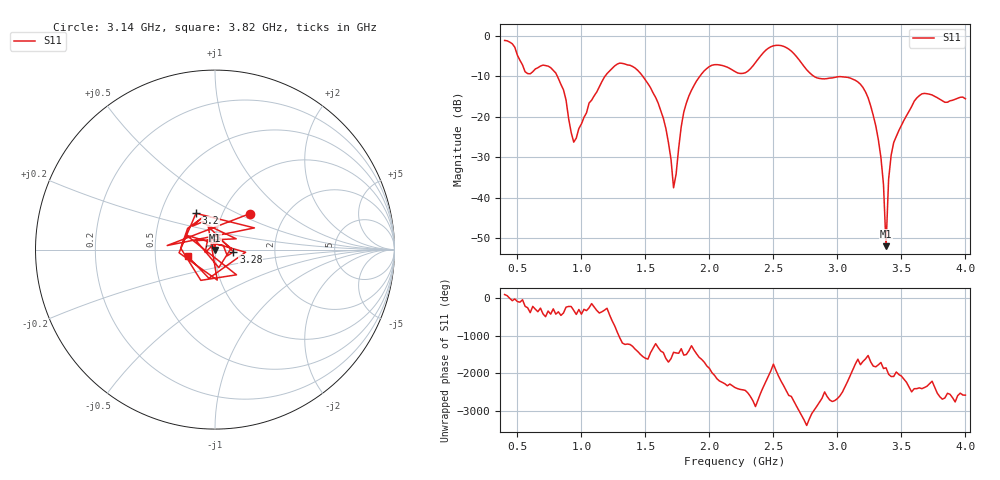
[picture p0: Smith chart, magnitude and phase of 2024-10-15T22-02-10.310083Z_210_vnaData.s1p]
! Created with skrf (http://scikit-rf.org).
# Hz S RI R 50.0
!freq ReS11 ImS11
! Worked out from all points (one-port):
!   181 points, 400 MHz to 4 GHz, reference 50 ohm
!   lowest |S11| = -52.0 dB at 3.38 GHz (marker M1), VSWR 1.01, Z = 50.2 - j0.2 ohm
!   |S11| at or under -10 dB: 811.1 MHz to 1.186 GHz (374.6 MHz wide, 37.5 % of centre); 1.478 GHz to 1.927 GHz (448.7 MHz wide, 26.4 % of centre); 2.814 GHz to end of sweep
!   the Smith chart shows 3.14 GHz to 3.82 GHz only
!   S11 on the Smith chart (normalised r, x): 3.14 GHz: 1.34, +0.58; 3.2 GHz: 0.75, +0.32; 3.28 GHz: 1.23, -0.03; 3.82 GHz: 0.73, -0.06
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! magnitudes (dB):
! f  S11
! 400 MHz  -1.2
! 560 MHz  -8.9
! 740 MHz  -7.5
! 860 MHz  -13.4
! 940 MHz  -26.3
! 1.3 GHz  -6.8
! 1.6 GHz  -16.7
! 1.66 GHz  -23.0
! 1.72 GHz  -37.6
! 1.76 GHz  -27.8
! 1.82 GHz  -16.7
! 1.92 GHz  -10.3
! 2.2 GHz  -8.9
! 2.5 GHz  -2.5
! 2.66 GHz  -4.5
! 2.84 GHz  -10.5
! 3.1 GHz  -10.5
! 3.14 GHz  -11.0
! 3.2 GHz  -12.8
! 3.28 GHz  -19.7
! 3.34 GHz  -30.1
! 3.36 GHz  -36.7
! 3.38 GHz  -52.0
! 3.4 GHz  -35.5
! 3.42 GHz  -29.5
! 3.56 GHz  -18.6
! 3.82 GHz  -16.1
! 4 GHz  -15.6
